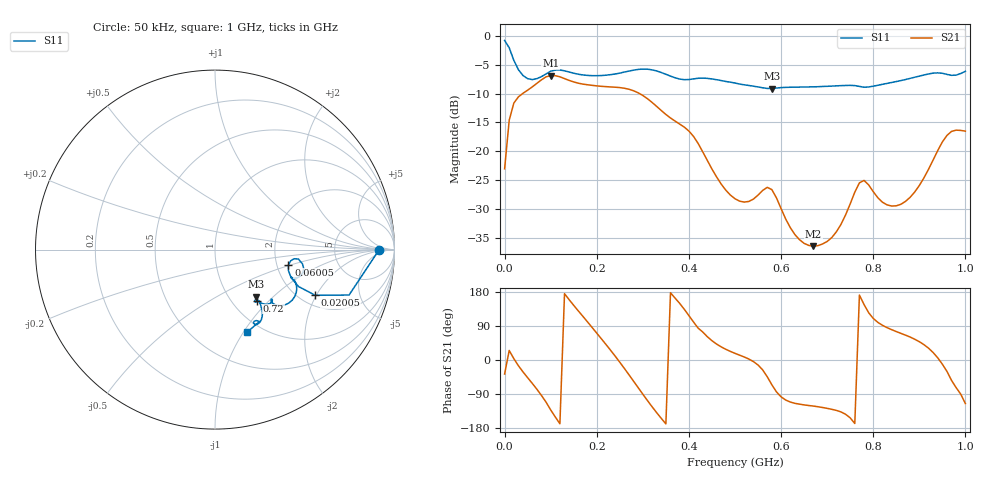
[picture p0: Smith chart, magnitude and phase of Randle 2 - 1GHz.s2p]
# Hz S RI R 50
!  Frequency  S11_Real  S11_Imag  S21_Real  S21_Imag  S12_Real  S12_Imag  S22_Real  S22_Imag
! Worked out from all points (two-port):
!   101 points, 50 kHz to 1 GHz, reference 50 ohm
!   highest |S21| = -6.89 dB at 100 MHz (marker M1); lowest = -36.5 dB at 670 MHz (marker M2)
!   |S21| within 3 dB of the highest: 41.03 MHz to 290.4 MHz (249.4 MHz wide, 150 % of centre)
!   lowest |S11| = -9.1 dB at 580 MHz (marker M3), VSWR 2.08, Z = 66.4 - j39.8 ohm
!   |S11| at or under -10 dB: nowhere
!   S12 and S22 are empty: the file has one direction only
!   S11 on the Smith chart (normalised r, x): 50 kHz: 22, -1; 20.05 MHz: 2.40, -1.96; 60.05 MHz: 2.32, -0.48; 720 MHz: 1.30, -0.85; 1 GHz: 0.85, -1.04
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50000  0.9128 -0.00348  0.0563 -0.0423  0 0  0 0
1.00495e7  0.7469 -0.2532  0.1683 0.079  0 0  0 0
2.0049e7  0.5587 -0.2546  0.261 0.0164  0 0  0 0
6.0047e7  0.4093 -0.0849  0.1717 -0.3178  0 0  0 0
1.00045e8  0.4879 -0.0807  -0.301 -0.3375  0 0  0 0
1.300435e8  0.4758 -0.1466  -0.4246 0.0372  0 0  0 0
1.700415e8  0.4309 -0.1565  -0.1617 0.3458  0 0  0 0
2.100395e8  0.4259 -0.1545  0.2046 0.3027  0 0  0 0
2.500375e8  0.4432 -0.1729  0.3543 -0.0371  0 0  0 0
2.900355e8  0.4527 -0.2395  0.0925 -0.3071  0 0  0 0
3.40033e8  0.3658 -0.3128  -0.2026 -0.0989  0 0  0 0
4.0003e8  0.3155 -0.2749  -0.0681 0.1332  0 0  0 0
5.00025e8  0.2541 -0.2965  0.0369 0.0117  0 0  0 0
5.80021e8  0.2308 -0.2628  0.0193 -0.0423  0 0  0 0
6.300185e8  0.2355 -0.2715  -0.00781 -0.0173  0 0  0 0
6.700165e8  0.2347 -0.2754  -0.00786 -0.0128  0 0  0 0
7.20014e8  0.2352 -0.2839  -0.0136 -0.0146  0 0  0 0
7.80011e8  0.2216 -0.2826  -0.0466 0.0309  0 0  0 0
8.40008e8  0.252 -0.3036  0.00581 0.033  0 0  0 0
8.900055e8  0.2635 -0.3499  0.0256 0.0362  0 0  0 0
9.60002e8  0.2146 -0.4109  0.1186 -0.0689  0 0  0 0
1e9  0.1776 -0.4603  -0.0634 -0.1352  0 0  0 0
